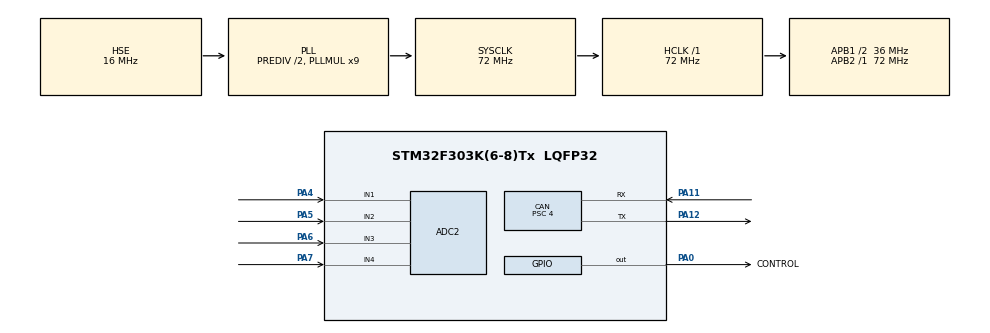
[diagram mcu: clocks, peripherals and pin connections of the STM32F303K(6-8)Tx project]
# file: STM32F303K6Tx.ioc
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ADC2.Channel-0\#ChannelRegularConversion=ADC_CHANNEL_1
ADC2.Channel-1\#ChannelRegularConversion=ADC_CHANNEL_2
ADC2.Channel-2\#ChannelRegularConversion=ADC_CHANNEL_3
ADC2.Channel-3\#ChannelRegularConversion=ADC_CHANNEL_4
ADC2.ContinuousConvMode=ENABLE
ADC2.DMAContinuousRequests=ENABLE
ADC2.NbrOfConversion=4
ADC2.NbrOfConversionFlag=1
ADC2.Offset-0\#ChannelRegularConversion=0
ADC2.Offset-1\#ChannelRegularConversion=0
ADC2.Offset-2\#ChannelRegularConversion=0
ADC2.Offset-3\#ChannelRegularConversion=0
ADC2.OffsetNumber-0\#ChannelRegularConversion=ADC_OFFSET_NONE
ADC2.OffsetNumber-1\#ChannelRegularConversion=ADC_OFFSET_NONE
ADC2.OffsetNumber-2\#ChannelRegularConversion=ADC_OFFSET_NONE
ADC2.OffsetNumber-3\#ChannelRegularConversion=ADC_OFFSET_NONE
ADC2.Rank-0\#ChannelRegularConversion=1
ADC2.Rank-1\#ChannelRegularConversion=2
ADC2.Rank-2\#ChannelRegularConversion=3
ADC2.Rank-3\#ChannelRegularConversion=4
ADC2.SamplingTime-0\#ChannelRegularConversion=ADC_SAMPLETIME_61CYCLES_5
ADC2.SamplingTime-1\#ChannelRegularConversion=ADC_SAMPLETIME_61CYCLES_5
ADC2.SamplingTime-2\#ChannelRegularConversion=ADC_SAMPLETIME_61CYCLES_5
ADC2.SamplingTime-3\#ChannelRegularConversion=ADC_SAMPLETIME_61CYCLES_5
ADC2.SamplingTimeOPAMP-1\#ChannelRegularConversion=ADC_SAMPLETIME_61CYCLES_5
ADC2.SamplingTimeOPAMP-2\#ChannelRegularConversion=ADC_SAMPLETIME_61CYCLES_5
ADC2.SamplingTimeOPAMP-3\#ChannelRegularConversion=ADC_SAMPLETIME_61CYCLES_5
CAN.BS1=CAN_BS1_15TQ
CAN.BS2=CAN_BS2_2TQ
CAN.CalculateBaudRate=500000
CAN.CalculateTimeBit=2000
CAN.CalculateTimeQuantum=111.11111111111111
CAN.Prescaler=4
Dma.ADC2.0.Direction=DMA_PERIPH_TO_MEMORY
Dma.ADC2.0.Instance=DMA1_Channel2
Dma.ADC2.0.MemDataAlignment=DMA_MDATAALIGN_HALFWORD
Dma.ADC2.0.MemInc=DMA_MINC_ENABLE
Dma.ADC2.0.Mode=DMA_CIRCULAR
Dma.ADC2.0.PeriphDataAlignment=DMA_PDATAALIGN_HALFWORD
Dma.ADC2.0.PeriphInc=DMA_PINC_DISABLE
Dma.ADC2.0.Priority=DMA_PRIORITY_LOW
Dma.Request0=ADC2
Mcu.Family=STM32F3
Mcu.Name=STM32F303K(6-8)Tx
Mcu.Package=LQFP32
NVIC.CAN_RX0_IRQn=true\:0\:0\:false\:false\:true\:true\:true\:true
NVIC.DMA1_Channel2_IRQn=true\:0\:2\:false\:false\:true\:false\:true\:true
NVIC.PriorityGroup=NVIC_PRIORITYGROUP_0
NVIC.TIM2_IRQn=true\:0\:0\:false\:false\:true\:true\:true\:true
NVIC.TIM7_DAC2_IRQn=true\:0\:0\:false\:false\:true\:true\:true\:true
PA0.GPIO_Label=CONTROL
PA0.PinState=GPIO_PIN_SET
PA0.Signal=GPIO_Output
PA11.Mode=CAN_Activate
PA11.Signal=CAN_RX
PA12.Mode=CAN_Activate
PA12.Signal=CAN_TX
PA13.Mode=Serial_Wire
PA13.Signal=SYS_JTMS-SWDIO
PA14.Mode=Serial_Wire
PA14.Signal=SYS_JTCK-SWCLK
PA4.Mode=IN1-Single-Ended
PA4.Signal=ADC2_IN1
PA5.Mode=IN2-Single-Ended
PA5.Signal=ADC2_IN2
PA6.Mode=IN3-Single-Ended
PA6.Signal=ADC2_IN3
PA7.Mode=IN4-Single-Ended
PA7.Signal=ADC2_IN4
PF0\ /\ OSC_IN.Mode=HSE-External-Oscillator
PF0\ /\ OSC_IN.Signal=RCC_OSC_IN
PF1\ /\ OSC_OUT.Mode=HSE-External-Oscillator
PF1\ /\ OSC_OUT.Signal=RCC_OSC_OUT
ProjectManager.HeapSize=0x200
ProjectManager.StackSize=0x400
ProjectManager.TargetToolchain=STM32CubeIDE
RCC.AHBFreq_Value=72000000
RCC.APB1CLKDivider=RCC_HCLK_DIV2
RCC.APB1Freq_Value=36000000
RCC.APB1TimFreq_Value=72000000
RCC.APB2Freq_Value=72000000
RCC.APB2TimFreq_Value=72000000
RCC.CortexFreq_Value=72000000
RCC.HCLKFreq_Value=72000000
RCC.HSE_VALUE=16000000
RCC.HSI_VALUE=8000000
RCC.PLLMUL=RCC_PLL_MUL9
RCC.PLLSourceVirtual=RCC_PLLSOURCE_HSE
RCC.RCC_PLLsource_Clock_Source_FROM_HSE=RCC_HSE_PREDIV_DIV2
RCC.SYSCLKFreq_VALUE=72000000
RCC.SYSCLKSourceVirtual=RCC_SYSCLKSOURCE_PLLCLK
TIM2.Period=399
TIM2.Prescaler=31999
TIM7.AutoReloadPreload=TIM_AUTORELOAD_PRELOAD_ENABLE
TIM7.Period=9999
TIM7.Prescaler=3599
VP_TIM2_VS_ClockSourceINT.Mode=Internal
VP_TIM7_VS_ClockSourceINT.Mode=Enable_Timer
board=custom

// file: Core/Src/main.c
/* USER CODE BEGIN Header */
/**
  ******************************************************************************
  * @file           : main.c
  * @brief          : Main program body
  ******************************************************************************
  * @attention
  *
  * <h2><center>&copy; Copyright (c) 2021 STMicroelectronics.
  * All rights reserved.</center></h2>
  *
  * This software component is licensed by ST under BSD 3-Clause license,
  * the "License"; You may not use this file except in compliance with the
  * License. You may obtain a copy of the License at:
  *                        opensource.org/licenses/BSD-3-Clause
  *
  ******************************************************************************
  */
/* USER CODE END Header */
#include "main.h"

/* USER CODE BEGIN Includes */
#include "can.h"
#include "psyduck_entry.h"
/* USER CODE END Includes */

/* USER CODE BEGIN PD */
#define ADC_VOLTAGE_CONVERSION 0.0008058608F
#define RSHUNT 0.5F
#define V2LP 62.5F
#define V2HP 580.151F
#define VGain_1  ADC_VOLTAGE_CONVERSION*V2LP*3/2
#define VGain_2 ADC_VOLTAGE_CONVERSION*V2HP
#define IGain ADC_VOLTAGE_CONVERSION/RSHUNT/50.0
/* USER CODE END PD */

ADC_HandleTypeDef hadc2;
DMA_HandleTypeDef hdma_adc2;

CAN_HandleTypeDef hcan;

TIM_HandleTypeDef htim2;
TIM_HandleTypeDef htim7;

/* USER CODE BEGIN PV */
uint16_t ADC2ConvertedValues[256]; //16 samples per sensor (3 pressure + 1 current), storing raw ADC values
float current;
float pressure[3];
uint32_t sum = 0;
uint16_t mean = 0;
float offset[4] = {-31.25, -31.25, 0, 0};
/* USER CODE END PV */

void SystemClock_Config(void);
static void MX_GPIO_Init(void);
static void MX_DMA_Init(void);
static void MX_ADC2_Init(void);
static void MX_CAN_Init(void);
static void MX_TIM2_Init(void);
static void MX_TIM7_Init(void);

/* USER CODE BEGIN 0 */
void HAL_ADC_ConvCpltCallback(ADC_HandleTypeDef* hadc) {
  for (uint8_t i=0; i < 4; i++) {
    sum = 0;
    mean = 0;

    for(uint8_t j=0; j < 64; j++) {
      sum += ADC2ConvertedValues[i + 4*j];
    }

    mean = sum/64;

    //i = 0, 1 psi250 max. i=2 psi5805.51 max
    switch (i)
    {
      case 0:
        pressure[0] = (((float)mean)*VGain_1) + offset[i];
      break;

      case 1:
        pressure[1] = (((float)mean)*VGain_1) + offset[i];
      break;

      case 2:
        pressure[2] = (((float)mean)*VGain_2) + offset[i];
      break;

      case 3:
        current = (((float)mean)*IGain) + offset[i];
      break;

      default:
      break;
        }
  }
}
/* USER CODE END 0 */

int main(void)
{

  /* MCU Configuration--------------------------------------------------------*/

  /* Reset of all peripherals, Initializes the Flash interface and the Systick. */
  HAL_Init();

  /* Configure the system clock */
  SystemClock_Config();

  /* Initialize all configured peripherals */
  MX_GPIO_Init();
  MX_DMA_Init();
  MX_ADC2_Init();
  MX_CAN_Init();
  MX_TIM2_Init();
  MX_TIM7_Init();
  /* USER CODE BEGIN 2 */
  HAL_ADC_Start_DMA(&hadc2, (uint32_t*)ADC2ConvertedValues, 256);
  psyduck_entry();

 /* HAL_TIM_Base_Start_IT(&htim2);
  __HAL_TIM_SET_COUNTER(&htim2, 0); */
  /* USER CODE END 2 */

  /* Infinite loop */
  /* USER CODE BEGIN WHILE */

  return  0;
  /* USER CODE END 3 */
}

void SystemClock_Config(void)
{
  RCC_OscInitTypeDef RCC_OscInitStruct = {0};
  RCC_ClkInitTypeDef RCC_ClkInitStruct = {0};
  RCC_PeriphCLKInitTypeDef PeriphClkInit = {0};

  /** Initializes the RCC Oscillators according to the specified parameters
  * in the RCC_OscInitTypeDef structure.
  */
  RCC_OscInitStruct.OscillatorType = RCC_OSCILLATORTYPE_HSE;
  RCC_OscInitStruct.HSEState = RCC_HSE_ON;
  RCC_OscInitStruct.HSEPredivValue = RCC_HSE_PREDIV_DIV2;
  RCC_OscInitStruct.HSIState = RCC_HSI_ON;
  RCC_OscInitStruct.PLL.PLLState = RCC_PLL_ON;
  RCC_OscInitStruct.PLL.PLLSource = RCC_PLLSOURCE_HSE;
  RCC_OscInitStruct.PLL.PLLMUL = RCC_PLL_MUL9;
  if (HAL_RCC_OscConfig(&RCC_OscInitStruct) != HAL_OK)
  {
    Error_Handler();
  }
  /** Initializes the CPU, AHB and APB buses clocks
  */
  RCC_ClkInitStruct.ClockType = RCC_CLOCKTYPE_HCLK|RCC_CLOCKTYPE_SYSCLK
                              |RCC_CLOCKTYPE_PCLK1|RCC_CLOCKTYPE_PCLK2;
  RCC_ClkInitStruct.SYSCLKSource = RCC_SYSCLKSOURCE_PLLCLK;
  RCC_ClkInitStruct.AHBCLKDivider = RCC_SYSCLK_DIV1;
  RCC_ClkInitStruct.APB1CLKDivider = RCC_HCLK_DIV2;
  RCC_ClkInitStruct.APB2CLKDivider = RCC_HCLK_DIV1;

  if (HAL_RCC_ClockConfig(&RCC_ClkInitStruct, FLASH_LATENCY_2) != HAL_OK)
  {
    Error_Handler();
  }
  PeriphClkInit.PeriphClockSelection = RCC_PERIPHCLK_ADC12;
  PeriphClkInit.Adc12ClockSelection = RCC_ADC12PLLCLK_DIV1;
  if (HAL_RCCEx_PeriphCLKConfig(&PeriphClkInit) != HAL_OK)
  {
    Error_Handler();
  }
}

static void MX_ADC2_Init(void)
{

  ADC_ChannelConfTypeDef sConfig = {0};

  /** Common config
  */
  hadc2.Instance = ADC2;
  hadc2.Init.ClockPrescaler = ADC_CLOCK_ASYNC_DIV1;
  hadc2.Init.Resolution = ADC_RESOLUTION_12B;
  hadc2.Init.ScanConvMode = ADC_SCAN_ENABLE;
  hadc2.Init.ContinuousConvMode = ENABLE;
  hadc2.Init.DiscontinuousConvMode = DISABLE;
  hadc2.Init.ExternalTrigConvEdge = ADC_EXTERNALTRIGCONVEDGE_NONE;
  hadc2.Init.ExternalTrigConv = ADC_SOFTWARE_START;
  hadc2.Init.DataAlign = ADC_DATAALIGN_RIGHT;
  hadc2.Init.NbrOfConversion = 4;
  hadc2.Init.DMAContinuousRequests = ENABLE;
  hadc2.Init.EOCSelection = ADC_EOC_SINGLE_CONV;
  hadc2.Init.LowPowerAutoWait = DISABLE;
  hadc2.Init.Overrun = ADC_OVR_DATA_OVERWRITTEN;
  if (HAL_ADC_Init(&hadc2) != HAL_OK)
  {
    Error_Handler();
  }
  /** Configure Regular Channel
  */
  sConfig.Channel = ADC_CHANNEL_1;
  sConfig.Rank = ADC_REGULAR_RANK_1;
  sConfig.SingleDiff = ADC_SINGLE_ENDED;
  sConfig.SamplingTime = ADC_SAMPLETIME_61CYCLES_5;
  sConfig.OffsetNumber = ADC_OFFSET_NONE;
  sConfig.Offset = 0;
  if (HAL_ADC_ConfigChannel(&hadc2, &sConfig) != HAL_OK)
  {
    Error_Handler();
  }
  /** Configure Regular Channel
  */
  sConfig.Channel = ADC_CHANNEL_2;
  sConfig.Rank = ADC_REGULAR_RANK_2;
  if (HAL_ADC_ConfigChannel(&hadc2, &sConfig) != HAL_OK)
  {
    Error_Handler();
  }
  /** Configure Regular Channel
  */
  sConfig.Channel = ADC_CHANNEL_3;
  sConfig.Rank = ADC_REGULAR_RANK_3;
  if (HAL_ADC_ConfigChannel(&hadc2, &sConfig) != HAL_OK)
  {
    Error_Handler();
  }
  /** Configure Regular Channel
  */
  sConfig.Channel = ADC_CHANNEL_4;
  sConfig.Rank = ADC_REGULAR_RANK_4;
  if (HAL_ADC_ConfigChannel(&hadc2, &sConfig) != HAL_OK)
  {
    Error_Handler();
  }

}

static void MX_CAN_Init(void)
{

  hcan.Instance = CAN;
  hcan.Init.Prescaler = 4;
  hcan.Init.Mode = CAN_MODE_NORMAL;
  hcan.Init.SyncJumpWidth = CAN_SJW_1TQ;
  hcan.Init.TimeSeg1 = CAN_BS1_15TQ;
  hcan.Init.TimeSeg2 = CAN_BS2_2TQ;
  hcan.Init.TimeTriggeredMode = DISABLE;
  hcan.Init.AutoBusOff = DISABLE;
  hcan.Init.AutoWakeUp = DISABLE;
  hcan.Init.AutoRetransmission = DISABLE;
  hcan.Init.ReceiveFifoLocked = DISABLE;
  hcan.Init.TransmitFifoPriority = DISABLE;
  if (HAL_CAN_Init(&hcan) != HAL_OK)
  {
    Error_Handler();
  }

}

static void MX_TIM2_Init(void)
{

  TIM_ClockConfigTypeDef sClockSourceConfig = {0};
  TIM_MasterConfigTypeDef sMasterConfig = {0};

  htim2.Instance = TIM2;
  htim2.Init.Prescaler = 31999;
  htim2.Init.CounterMode = TIM_COUNTERMODE_UP;
  htim2.Init.Period = 399;
  htim2.Init.ClockDivision = TIM_CLOCKDIVISION_DIV1;
  htim2.Init.AutoReloadPreload = TIM_AUTORELOAD_PRELOAD_DISABLE;
  if (HAL_TIM_Base_Init(&htim2) != HAL_OK)
  {
    Error_Handler();
  }
  sClockSourceConfig.ClockSource = TIM_CLOCKSOURCE_INTERNAL;
  if (HAL_TIM_ConfigClockSource(&htim2, &sClockSourceConfig) != HAL_OK)
  {
    Error_Handler();
  }
  sMasterConfig.MasterOutputTrigger = TIM_TRGO_RESET;
  sMasterConfig.MasterSlaveMode = TIM_MASTERSLAVEMODE_DISABLE;
  if (HAL_TIMEx_MasterConfigSynchronization(&htim2, &sMasterConfig) != HAL_OK)
  {
    Error_Handler();
  }

}

static void MX_TIM7_Init(void)
{

  TIM_MasterConfigTypeDef sMasterConfig = {0};

  htim7.Instance = TIM7;
  htim7.Init.Prescaler = 3599;
  htim7.Init.CounterMode = TIM_COUNTERMODE_UP;
  htim7.Init.Period = 9999;
  htim7.Init.AutoReloadPreload = TIM_AUTORELOAD_PRELOAD_ENABLE;
  if (HAL_TIM_Base_Init(&htim7) != HAL_OK)
  {
    Error_Handler();
  }
  sMasterConfig.MasterOutputTrigger = TIM_TRGO_RESET;
  sMasterConfig.MasterSlaveMode = TIM_MASTERSLAVEMODE_DISABLE;
  if (HAL_TIMEx_MasterConfigSynchronization(&htim7, &sMasterConfig) != HAL_OK)
  {
    Error_Handler();
  }

}

static void MX_DMA_Init(void)
{

  /* DMA controller clock enable */
  __HAL_RCC_DMA1_CLK_ENABLE();

  /* DMA interrupt init */
  /* DMA1_Channel2_IRQn interrupt configuration */
  HAL_NVIC_SetPriority(DMA1_Channel2_IRQn, 0, 2);
  HAL_NVIC_EnableIRQ(DMA1_Channel2_IRQn);

}

static void MX_GPIO_Init(void)
{
  GPIO_InitTypeDef GPIO_InitStruct = {0};

  /* GPIO Ports Clock Enable */
  __HAL_RCC_GPIOF_CLK_ENABLE();
  __HAL_RCC_GPIOA_CLK_ENABLE();

  /*Configure GPIO pin Output Level */
  HAL_GPIO_WritePin(CONTROL_GPIO_Port, CONTROL_Pin, GPIO_PIN_SET);

  /*Configure GPIO pin : CONTROL_Pin */
  GPIO_InitStruct.Pin = CONTROL_Pin;
  GPIO_InitStruct.Mode = GPIO_MODE_OUTPUT_PP;
  GPIO_InitStruct.Pull = GPIO_NOPULL;
  GPIO_InitStruct.Speed = GPIO_SPEED_FREQ_LOW;
  HAL_GPIO_Init(CONTROL_GPIO_Port, &GPIO_InitStruct);

}

/* USER CODE BEGIN 4 */

void HAL_TIM_PeriodElapsedCallback(TIM_HandleTypeDef *htim) {
  WLoopCAN_timer_isr(htim);
}
/* USER CODE END 4 */

void Error_Handler(void)
{
  /* USER CODE BEGIN Error_Handler_Debug */
  /* User can add his own implementation to report the HAL error return state */
  __disable_irq();
  DISENGAGE_BRAKES();
  while (1)
  {
  }
  /* USER CODE END Error_Handler_Debug */
}

/************************ (C) COPYRIGHT STMicroelectronics *****END OF FILE****/
